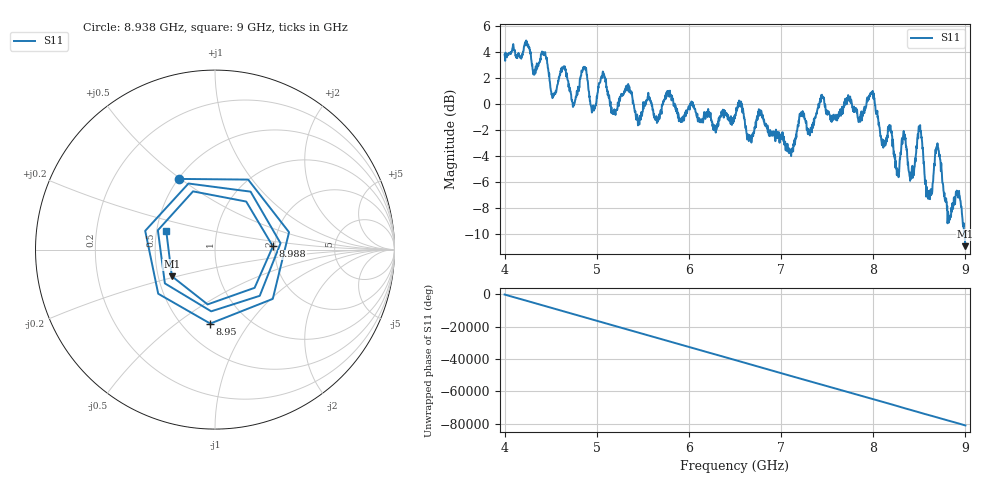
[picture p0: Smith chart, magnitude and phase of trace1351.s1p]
! Created with skrf 1.8.0 (http://scikit-rf.org).
# Hz S RI R 50.0
!freq ReS11 ImS11
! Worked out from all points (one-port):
!   1601 points, 4 GHz to 9 GHz, reference 50 ohm
!   lowest |S11| = -11.0 dB at 8.997 GHz (marker M1), VSWR 1.79, Z = 29.5 - j9.52 ohm
!   |S11| at or under -10 dB: 8.989224 GHz to end of sweep
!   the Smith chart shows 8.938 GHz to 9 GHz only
!   S11 on the Smith chart (normalised r, x): 8.938 GHz: 0.50, +0.49; 8.95 GHz: 0.68, -0.67; 8.988 GHz: 1.95, +0.08; 9 GHz: 0.56, +0.13
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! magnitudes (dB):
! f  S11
! 4 GHz  3.8
! 4.425 GHz  3.9
! 4.528 GHz  0.8
! 4.625 GHz  2.6
! 4.747 GHz  0.0
! 4.859 GHz  2.7
! 4.956 GHz  -0.4
! 5.066 GHz  2.5
! 5.178 GHz  -0.8
! 5.25 GHz  0.5
! 5.875 GHz  -0.8
! 6.5 GHz  -1.0
! 7.125 GHz  -3.4
! 7.222 GHz  -1.0
! 7.75 GHz  0.5
! 7.988 GHz  0.9
! 8.1 GHz  -3.2
! 8.375 GHz  -4.7
! 8.425 GHz  -4.8
! 8.503 GHz  -2.0
! 8.6 GHz  -6.7
! 8.697 GHz  -3.0
! 8.819 GHz  -8.8
! 8.938 GHz  -7.1
! 8.95 GHz  -7.7
! 8.988 GHz  -9.8
! 8.997 GHz  -11.0
! 9 GHz  -10.8
